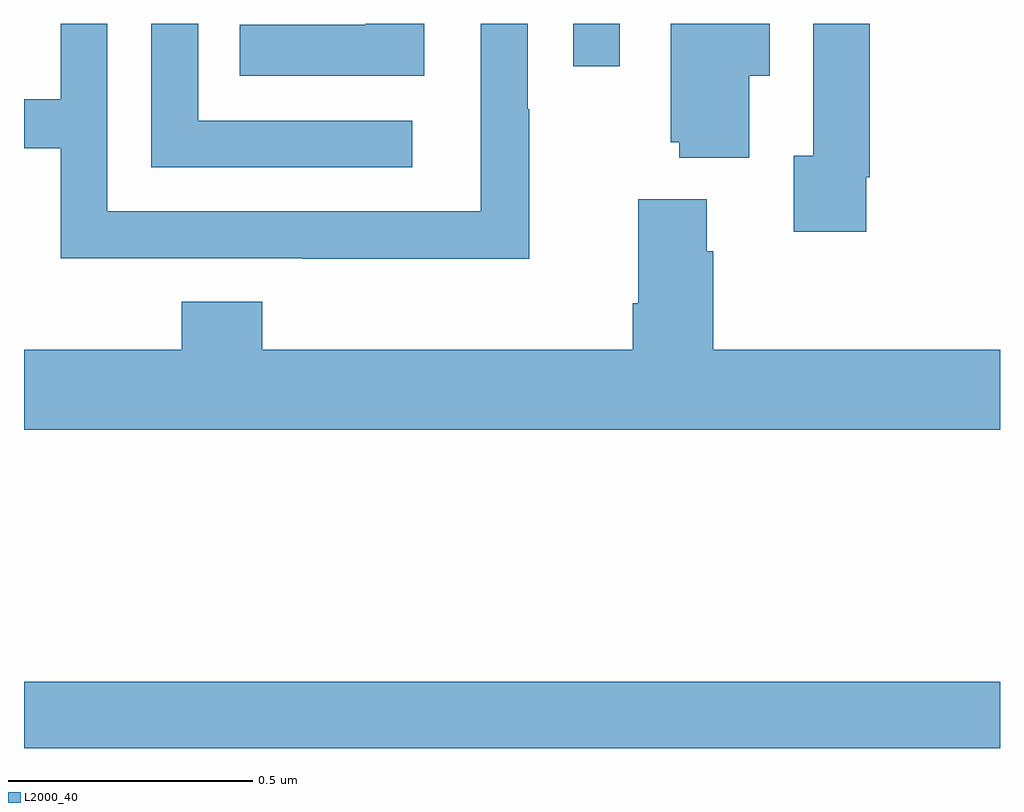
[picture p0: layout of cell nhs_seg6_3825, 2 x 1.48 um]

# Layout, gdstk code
import gdstk
lib = gdstk.Library(unit=1e-6, precision=1e-09)
def R(c, l, rs):  # rectangles x0, y0, x1, y1
    for r in rs: c.add(gdstk.rectangle(r[:2], r[2:], *l))
def P(c, l, *ps):  # polygons
    for p in ps: c.add(gdstk.Polygon(p, *l))
L2000_40 = (2000, 40)

nhs_seg6_3825 = lib.new_cell('nhs_seg6_3825')
R(nhs_seg6_3825, L2000_40, [(162,948.016,164,948.152), (163.125,949.413,163.221,949.5)])
P(nhs_seg6_3825, L2000_40, [(163.035,949.325),(163.032,949.325),(163.032,949.5),(162.936,949.5),(162.936,949.116),(162.171,949.116),(162.171,949.5),(162.075,949.5),(162.075,949.346),(162,949.346),(162,949.245),(162.075,949.245),(162.075,949.02),(162.571,949.02),(162.571,949.019),(163.035,949.019)],
  [(162.82,949.5),(162.699,949.5),(162.699,949.498),(162.442,949.498),(162.442,949.394),(162.82,949.394)],
  [(162.796,949.302),(162.357,949.302),(162.357,949.5),(162.261,949.5),(162.261,949.206),(162.796,949.206)],
  [(163.486,949.394),(163.528,949.394),(163.528,949.5),(163.325,949.5),(163.325,949.257),(163.343,949.257),(163.343,949.226),(163.486,949.226)],
  [(163.726,949.186),(163.733,949.186),(163.733,949.5),(163.617,949.5),(163.617,949.23),(163.577,949.23),(163.577,949.074),(163.726,949.074)],
  [(164,948.832),(163.412,948.832),(163.412,949.034),(163.399,949.034),(163.399,949.141),(163.259,949.141),(163.259,948.928),(163.247,948.928),(163.247,948.832),(162.488,948.832),(162.488,948.931),(162.323,948.931),(162.323,948.832),(162,948.832),(162,948.668),(164,948.668)])

lib.write_gds('nhs_seg6_3825.gds')
